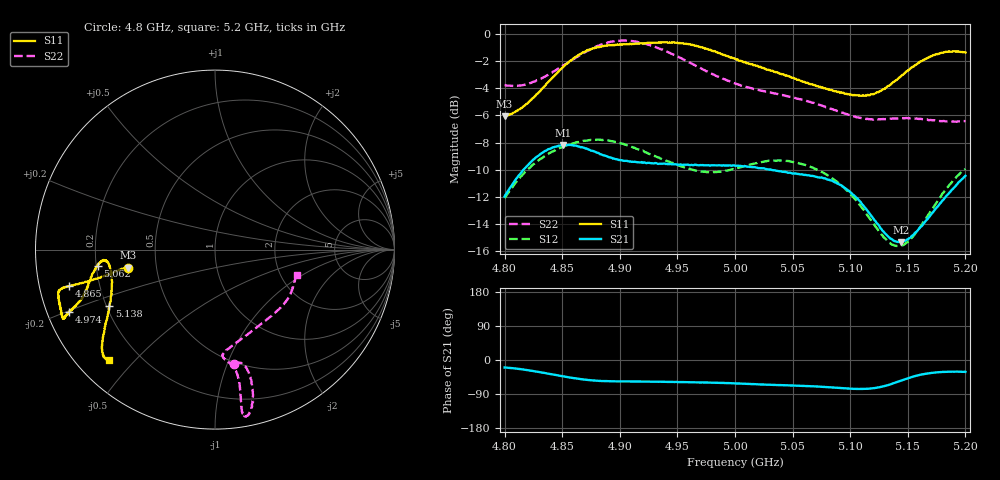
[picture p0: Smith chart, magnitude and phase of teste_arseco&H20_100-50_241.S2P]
! Network Analyzer HP8722D
! Hewlett-Packard
! Data name: Linha & Wilkinson
! Saver's name: Rodrigo Anjos
! Comments: Teste da utilização de aquisição
! continua pelo VNA HP8722D
! Time and date: 6/5/2025 14:34
!  Frequency  S11  S21  S12  S22
# HZ  S  MA R 50
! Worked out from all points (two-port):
!   401 points, 4.8 GHz to 5.2 GHz, reference 50 ohm
!   highest |S21| = -8.17 dB at 4.851 GHz (marker M1); lowest = -15.3 dB at 5.144 GHz (marker M2)
!   |S21| within 3 dB of the highest: 4.806 GHz to 5.093 GHz (286.7 MHz wide, 5.79 % of centre); 5.191743 GHz to end of sweep
!   lowest |S11| = -6.1 dB at 4.8 GHz (marker M3), VSWR 2.97, Z = 17 - j4.56 ohm
!   |S11| at or under -10 dB: nowhere
!   |S22| runs from -6.5 to -0.5 dB; largest |S21 - S12| = 0.62
!   S11 on the Smith chart (normalised r, x): 4.8 GHz: 0.34, -0.09; 4.865 GHz: 0.09, -0.12; 4.974 GHz: 0.07, -0.20; 5.062 GHz: 0.21, -0.07; 5.138 GHz: 0.21, -0.24; 5.2 GHz: 0.09, -0.42
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4.8e9  0.4968 -168.2  0.2523 -19.7  0.2489 -141.0  0.6477 -80.4
4.825e9  0.5819 -167.4  0.3449 -29.2  0.3316 -144.4  0.6666 -75.7
4.851e9  0.7564 -165.9  0.3905 -43.4  0.3846 -149.4  0.7656 -74.5
4.865e9  0.8388 -165.9  0.3847 -49.9  0.4011 -151.7  0.8332 -75.3
4.867e9  0.8489 -165.9  0.3833 -50.9  0.4022 -152.1  0.8423 -75.4
4.899e9  0.9108 -163.0  0.3438 -56.6  0.3974 -156.8  0.9428 -79.1
4.914e9  0.9206 -159.7  0.3378 -56.5  0.3784 -157.1  0.9369 -80.3
4.934e9  0.9293 -156.5  0.3328 -57.5  0.351 -155.7  0.8831 -80.5
4.949e9  0.9268 -155.5  0.3313 -57.8  0.331 -153.0  0.8287 -80.1
4.974e9  0.8822 -156.9  0.3283 -59.3  0.3112 -145.6  0.7329 -79.6
5e9  0.8101 -159.0  0.3275 -61.8  0.3194 -137.3  0.6571 -81.3
5.036e9  0.7229 -165.6  0.3137 -66.0  0.3415 -134.4  0.6013 -85.7
5.062e9  0.6603 -172.2  0.3023 -68.4  0.328 -136.4  0.5666 -83.8
5.067e9  0.6519 -173.2  0.3005 -69.2  0.3228 -136.9  0.5582 -82.7
5.084e9  0.6223 -174.6  0.2887 -72.5  0.2952 -138.4  0.5289 -76.2
5.101e9  0.5971 -172.1  0.26 -75.9  0.2554 -138.8  0.5001 -66.5
5.118e9  0.5992 -164.3  0.2152 -75.2  0.2065 -134.6  0.4851 -54.3
5.134e9  0.6451 -154.3  0.1782 -65.2  0.1705 -120.6  0.4871 -43.3
5.138e9  0.6675 -151.9  0.1733 -61.3  0.167 -115.6  0.4882 -40.8
5.144e9  0.6981 -148.8  0.1713 -54.7  0.1659 -107.5  0.4892 -37.4
5.174e9  0.8388 -138.6  0.2269 -32.9  0.2368 -80.3  0.4799 -23.8
5.2e9  0.8528 -133.7  0.3005 -31.5  0.3186 -77.0  0.4776 -17.5
